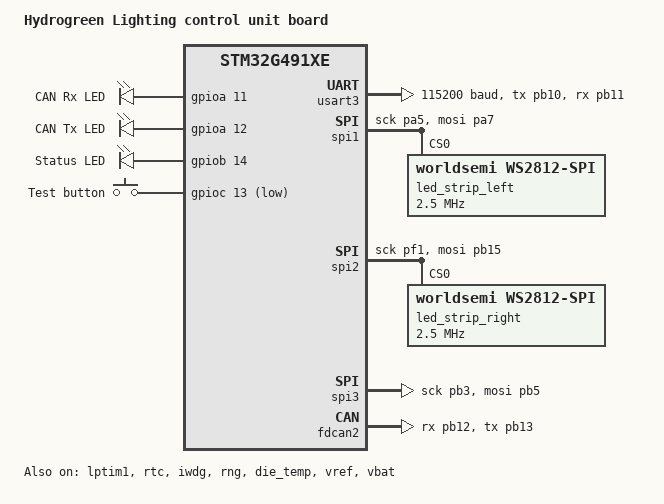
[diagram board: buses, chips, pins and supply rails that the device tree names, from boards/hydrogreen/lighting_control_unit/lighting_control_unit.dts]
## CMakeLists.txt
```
cmake_minimum_required(VERSION 3.13.1)

set(LCU_TYPE "front" CACHE STRING "Lighting control unit hardware position")
set_property(CACHE LCU_TYPE PROPERTY STRINGS front rear)

if(LCU_TYPE STREQUAL "front")
    set(LCU_TYPE_DEFINE LCU_FRONT_PCB)
elseif(LCU_TYPE STREQUAL "rear")
    set(LCU_TYPE_DEFINE LCU_REAR_PCB)
else()
    message(FATAL_ERROR "Unknown LCU_TYPE: ${LCU_TYPE}")
endif()

if(NOT DEFINED BOARD)
    set(BOARD lighting_control_unit CACHE STRING "Zephyr target board")
    message(STATUS "BOARD not defined externally, using default: ${BOARD}")
endif()

if(NOT DEFINED BOARD_ROOT)
    set(BOARD_ROOT ${CMAKE_CURRENT_SOURCE_DIR}/ CACHE PATH "Root directory for custom boards")
    message(STATUS "BOARD_ROOT not defined externally, using default: ${BOARD_ROOT}")
endif()

find_package(Zephyr REQUIRED HINTS $ENV{ZEPHYR_BASE})
project(app LANGUAGES C)

target_include_directories(app PRIVATE
        src
        ${CMAKE_SOURCE_DIR}/../modules/can-definitions
        ${CMAKE_SOURCE_DIR}/../modules/peripherals
        ${CMAKE_SOURCE_DIR}/../modules/peripherals/include
)

#target_link_libraries(app PRIVATE can-definitions peripherals)

if(CONFIG_BOOTLOADER_MCUBOOT)
    set(SIGNED_BIN  ${CMAKE_BINARY_DIR}/zephyr/zephyr.signed.bin)
    set(ELF_FILE    ${CMAKE_BINARY_DIR}/zephyr/zephyr.elf)
    set(HEADER_BIN  ${CMAKE_BINARY_DIR}/zephyr/mcuboot_header.bin)

    add_custom_target(patch_elf_mcuboot_header ALL
            COMMAND ${PYTHON_EXECUTABLE} -c
            "h=open('${SIGNED_BIN}','rb').read(${CONFIG_ROM_START_OFFSET}); open('${HEADER_BIN}','wb').write(h)"
            COMMAND ${PYTHON_EXECUTABLE}
            ${CMAKE_CURRENT_SOURCE_DIR}/tools/patch_elf_mcuboot_header.py
            ${ELF_FILE} ${HEADER_BIN} ${CONFIG_ROM_START_OFFSET}
            COMMENT "Patching MCUboot image header into zephyr.elf for GDB"
            VERBATIM
    )
    add_dependencies(patch_elf_mcuboot_header zephyr_final)
endif()

target_sources(app PRIVATE
        src/main.c
        src/lighting_control_unit.c
        src/lcu_dfu.c
        src/led_strip_ctrl.c
        ${CMAKE_SOURCE_DIR}/../modules/peripherals/can.c
        ${CMAKE_SOURCE_DIR}/../modules/peripherals/can_dfu.c
        ${CMAKE_SOURCE_DIR}/../modules/peripherals/gpio.c
        ${CMAKE_SOURCE_DIR}/../modules/peripherals/pwm.c
        ${CMAKE_SOURCE_DIR}/../modules/peripherals/status_led.c
        ${CMAKE_SOURCE_DIR}/../modules/peripherals/test_button.c
        ${CMAKE_SOURCE_DIR}/../modules/can-definitions/candef.c
)

target_compile_definitions(app PRIVATE ${LCU_TYPE_DEFINE})
```

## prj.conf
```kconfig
# Project specific config
CONFIG_GPIO=y
CONFIG_CAN=y
CONFIG_CAN_FD_MODE=n
CONFIG_CAN_MANUAL_RECOVERY_MODE=y
CONFIG_LED_STRIP=y
CONFIG_LED_STRIP_LOG_LEVEL_DBG=y

CONFIG_NANOPB=y

# prosze zadzialaj
CONFIG_SPI=y
CONFIG_SPI_STM32=y
CONFIG_PINCTRL=y

# System settings
CONFIG_HEAP_MEM_POOL_SIZE=2048
CONFIG_MAIN_STACK_SIZE=1024

# MCUboot + DFU over CAN
CONFIG_BOOTLOADER_MCUBOOT=y
CONFIG_MCUBOOT_IMG_MANAGER=y
CONFIG_MCUBOOT_GENERATE_UNSIGNED_IMAGE=y
CONFIG_FLASH=y
CONFIG_FLASH_MAP=y
CONFIG_FLASH_PAGE_LAYOUT=y
CONFIG_STREAM_FLASH=y
CONFIG_STREAM_FLASH_ERASE=n
CONFIG_STREAM_FLASH_INSPECT=n
CONFIG_IMG_MANAGER=y
CONFIG_REBOOT=y
CONFIG_CRC=y

# Debugging, tracing and logging settings
CONFIG_FPU=y
CONFIG_ARM_MPU=y
CONFIG_HW_STACK_PROTECTION=y

CONFIG_SERIAL=y
CONFIG_LOG=y
CONFIG_LOG_MODE_IMMEDIATE=y
CONFIG_LOG_DEFAULT_LEVEL=3

CONFIG_CONSOLE=y
CONFIG_LOG_BACKEND_RTT=y
CONFIG_LOG_BACKEND_RTT_MODE_DROP=y
CONFIG_USE_SEGGER_RTT=y
CONFIG_SEGGER_RTT_BUFFER_SIZE_UP=16384

CONFIG_TRACING=n
CONFIG_SEGGER_SYSTEMVIEW=n

CONFIG_DEBUG=y
CONFIG_DEBUG_OPTIMIZATIONS=y
CONFIG_THREAD_ANALYZER=y
CONFIG_THREAD_NAME=y
```

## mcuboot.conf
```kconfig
CONFIG_BOOT_SIGNATURE_TYPE_NONE=y
CONFIG_BOOT_UPGRADE_ONLY=y
CONFIG_BOOT_VALIDATE_SLOT0=n
CONFIG_BOOT_MAX_IMG_SECTORS_AUTO=n
CONFIG_BOOT_MAX_IMG_SECTORS=120

# Feed the watchdog during flash operations so the IWDG doesn't
# reset the MCU mid-upgrade (erasing 234KB takes several seconds).
CONFIG_BOOT_WATCHDOG_FEED=y
```

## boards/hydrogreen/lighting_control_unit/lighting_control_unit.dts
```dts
/dts-v1/;
#include <st/g4/stm32g491Xe.dtsi>
#include <st/g4/stm32g491c(c-e)tx-pinctrl.dtsi>

#include <zephyr/dt-bindings/led/led.h>

/ {
	model = "Hydrogreen Lighting control unit board";
	compatible = "hydrogreen,lighting-control-unit";

	aliases {
		can-rx-led = &can_rx_led;
		can-tx-led = &can_tx_led;
		status-led = &status_led;
		button-test = &button_test;
		led-strip-left = &led_strip_left;
		led-strip-right = &led_strip_right;
		can = &fdcan2;
		watchdog0 = &iwdg;
		die-temp0 = &die_temp;
		volt-sensor0 = &vref;
		volt-sensor1 = &vbat;
	};

	chosen {
		zephyr,console = &usart3;
		zephyr,shell-uart = &usart3;
		zephyr,sram = &sram0;
		zephyr,flash = &flash0;
		zephyr,canbus = &fdcan2;
		zephyr,code-partition = &slot0_partition;
	};

	leds {
		compatible = "gpio-leds";
		can_rx_led: led_pa11 {
			gpios = <&gpioa 11 GPIO_ACTIVE_HIGH>;
			label = "CAN Rx LED";
		};
		can_tx_led: led_pa12 {
			gpios = <&gpioa 12 GPIO_ACTIVE_HIGH>;
			label = "CAN Tx LED";
		};
		status_led: led_pb14 {
			gpios = <&gpiob 14 GPIO_ACTIVE_HIGH>;
			label = "Status LED";
		};
	};

	gpio_keys {
		compatible = "gpio-keys";
		button_test: button_pc13 {
			gpios = <&gpioc 13 (GPIO_ACTIVE_LOW | GPIO_PULL_UP)>;
			label = "Test button";
		};
	};


};

&gpioa {
	status = "okay";
};

&gpiob {
	status = "okay";
};

&gpioc {
	status = "okay";
};

&gpiof {
	status = "okay";
};


&clk_lsi {
	status = "okay";
};

&clk_hsi48 {
	status = "okay";
};

//&clk_hse {
//	clock-frequency = <DT_FREQ_M(24)>;
//	status = "okay";
//};

&clk_hsi {
	status = "okay";
};

&pll {
	div-m = <1>;
	mul-n = <10>;
	div-p = <2>;
	div-q = <2>;
	div-r = <2>;
	clocks = <&clk_hsi>;
	status = "okay";
};

&rcc {
	clocks = <&pll>;
	clock-frequency = <DT_FREQ_M(80)>;
	ahb-prescaler = <1>;
	apb1-prescaler = <1>;
	apb2-prescaler = <1>;
};

&usart3 {
	pinctrl-0 = <&usart3_tx_pb10 &usart3_rx_pb11>;
	pinctrl-names = "default";
	current-speed = <115200>;
	status = "okay";
};

//&lpuart1 {
//	pinctrl-0 = <&lpuart1_tx_pa2 &lpuart1_rx_pa3>;
//	pinctrl-1 = <&analog_pa2 &analog_pa3>;
//	pinctrl-names = "default", "sleep";
//	current-speed = <115200>;
//	status = "okay";
//};


&spi1 {
	pinctrl-0 = <&spi1_sck_pa5 &spi1_mosi_pa7>;
	pinctrl-names = "default";
	status = "okay";

	led_strip_left: ws2812@0 {
		compatible = "worldsemi,ws2812-spi";
		reg = <0>;
		/* Match lcu_ws28_spi: 80 MHz / 32 = 2.5 MHz, ControllersTech byte mapping */
		spi-max-frequency = <2500000>;
		chain-length = <50>;
		status = "okay";
		spi-one-frame = <0x06>;
		spi-zero-frame = <0x04>;
		color-mapping = <LED_COLOR_ID_GREEN
						 LED_COLOR_ID_RED
						 LED_COLOR_ID_BLUE>;
	};
};

&spi2 {
	pinctrl-0 = <&spi2_sck_pf1 &spi2_mosi_pb15>;
	pinctrl-names = "default";
	status = "okay";

	led_strip_right: ws2812@0 {
		compatible = "worldsemi,ws2812-spi";
		reg = <0>;
		/* Match lcu_ws28_spi: 80 MHz / 32 = 2.5 MHz, ControllersTech byte mapping */
		spi-max-frequency = <2500000>;
		chain-length = <50>;
		status = "okay";
		spi-one-frame = <0x06>;
		spi-zero-frame = <0x04>;
		color-mapping = <LED_COLOR_ID_GREEN
						 LED_COLOR_ID_RED
						 LED_COLOR_ID_BLUE>;
	};
};

&spi3 {
	pinctrl-0 = <&spi3_sck_pb3 &spi3_mosi_pb5>;
	pinctrl-names = "default";
	status = "okay";

	/*led_strip_spi3_pb5: ws2812@0 {
		compatible = "worldsemi,ws2812-spi";
		reg = <0>;
		 Placeholder SPI3 config on PB5 for bench wiring parity
		spi-max-frequency = <2500000>;
		chain-length = <95>;
		status = "okay";
		spi-one-frame = <0x06>;
		spi-zero-frame = <0x04>;
		color-mapping = <LED_COLOR_ID_GREEN
						 LED_COLOR_ID_RED
						 LED_COLOR_ID_BLUE>;
	};*/


};

//&timers2 {
//	status = "okay";
//
//	pwm2: pwm {
//		status = "okay";
//		pinctrl-0 = <&tim2_ch1_pa5>;
//		pinctrl-names = "default";
//	};
//};
//
//&timers3 {
//	st,prescaler = <10000>;
//	status = "okay";
//	pwm3: pwm {
//		status = "okay";
//		pinctrl-0 = <&tim3_ch1_pb4>;
//		pinctrl-names = "default";
//	};
//};

&lptim1 {
	clocks = <&rcc STM32_CLOCK_BUS_APB1 0x80000000>,
			 <&rcc STM32_SRC_LSI LPTIM1_SEL(1)>;
	status = "okay";
};

&rtc {
	clocks = <&rcc STM32_CLOCK_BUS_APB1 0x00000400>,
			 <&rcc STM32_SRC_LSI RTC_SEL(2)>;
	status = "okay";
};

&flash0 {
	partitions {
		compatible = "fixed-partitions";
		#address-cells = <1>;
		#size-cells = <1>;

		boot_partition: partition@0 {
			label = "mcuboot";
			reg = <0x00000000 DT_SIZE_K(34)>;
		};
		slot0_partition: partition@8800 {
			label = "image-0";
			reg = <0x00008800 DT_SIZE_K(240)>;
		};
		slot1_partition: partition@44800 {
			label = "image-1";
			reg = <0x00044800 DT_SIZE_K(234)>;
		};
		/* Set 4Kb of storage at the end of the 512Kb of flash */
		storage_partition: partition@7f000 {
			label = "storage";
			reg = <0x0007f000 DT_SIZE_K(4)>;
		};
	};
};

&iwdg {
	status = "okay";
};

&rng {
	status = "okay";
};


&die_temp {
	status = "okay";
};

//&fdcan1 {
//	clocks = <&rcc STM32_CLOCK_BUS_APB1 0x02000000>,
//			 <&rcc STM32_SRC_HSE FDCAN_SEL(0)>;
//	pinctrl-0 = <&fdcan1_rx_pa11 &fdcan1_tx_pa12>;
//	pinctrl-names = "default";
//	status = "okay";
//};

&fdcan2 {
	clocks = <&rcc STM32_CLOCK_BUS_APB1 0x02000000>,
			 <&rcc STM32_SRC_PLL_Q FDCAN_SEL(1)>;
	pinctrl-0 = <&fdcan2_rx_pb12 &fdcan2_tx_pb13>;
	pinctrl-names = "default";
	status = "okay";
};

&vref {
	status = "okay";
};

&vbat {
	status = "okay";
};
```

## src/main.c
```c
#include <errno.h>
#include <string.h>
#include <zephyr/logging/log.h>
#include <zephyr/kernel.h>
#include <zephyr/device.h>
#include <zephyr/drivers/spi.h>
#include <zephyr/sys/util.h>

#include "lighting_control_unit.h"

LOG_MODULE_REGISTER(main);
//
// static struct gpio_dt_spec status_led = GPIO_DT_SPEC_GET(DT_ALIAS(can_rx_led), gpios);
//
// bool bul = false;

// void blink_led() {
//     //ccu_rs485_init();
//     //ccu_can_init();
//
//     gpio_init(&status_led, GPIO_OUTPUT_INACTIVE);
//
//     while (true) {
//         gpio_pin_toggle_dt(&status_led);
//         k_msleep(500);
//         LOG_INF("%d", (int)bul);
//         bul = !bul;
//     }
// }
struct led_rgb lgbt;
int main(void) {
    lcu_init();
    lcu_on_tick();
    return 0;
}
```

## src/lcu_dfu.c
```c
#include "lcu_dfu.h"
#include "status_led.h"

#include <zephyr/device.h>
#include <zephyr/devicetree.h>

static void on_dfu_start(void) { status_led_set(STATUS_LED_DFU); }
static void on_dfu_end(void)   { status_led_set(STATUS_LED_OPERATIONAL); }

static const struct can_dfu_cfg lcu_dfu_cfg = {
    .cmd_id   = LCU_DFU_CMD_ID,
    .data_id  = LCU_DFU_DATA_ID,
    .rsp_id   = LCU_DFU_RSP_ID,
    .can_dev  = DEVICE_DT_GET(DT_ALIAS(can)),
    .on_start = on_dfu_start,
    .on_end   = on_dfu_end,
};

void lcu_dfu_init(void) { can_dfu_init(&lcu_dfu_cfg); }
```

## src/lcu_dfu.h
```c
#ifndef LCU_DFU_H
#define LCU_DFU_H

#include "can_dfu.h" /* generic peripheral — provides can_dfu_on_frame / can_dfu_is_active */

/* CAN IDs used by the LCU DFU protocol (extended frames) */
#define LCU_DFU_CMD_ID  0x7E4U  /* updater -> device: REQUEST or COMMIT */
#define LCU_DFU_DATA_ID 0x7E5U  /* updater -> device: firmware chunks   */
#define LCU_DFU_RSP_ID  0x7E6U  /* device  -> updater: status responses */

void lcu_dfu_init(void);

#endif /* LCU_DFU_H */
```

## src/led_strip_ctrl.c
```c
#include "led_strip_ctrl.h"

LOG_MODULE_REGISTER(led_strip_ctrl, LOG_LEVEL_INF);

int led_strip_init(const struct device *strip) {
    if (device_is_ready(strip)) {
        LOG_INF("Found LED strip device %s", strip->name);
        return 0;
    } else {
        LOG_ERR("LED strip device %s is not ready", strip->name);
        return -ENODEV;
    }
}

/* ── Buffer-only writes (no hardware update) ────────────────────────────── */

int led_strip_set_pixel(const struct device *strip, struct led_rgb *pixels,
                        size_t pixel_index, size_t num_pixels,
                        uint8_t r, uint8_t g, uint8_t b) {
    if (pixel_index >= num_pixels) {
        return -ERANGE;
    }
    pixels[pixel_index] = RGB(r, g, b);
    return 0;
}

int led_strip_set_all_pixels(const struct device *strip, struct led_rgb *pixels,
                              size_t num_pixels,
                              uint8_t r, uint8_t g, uint8_t b) {
    for (size_t i = 0; i < num_pixels; i++) {
        pixels[i] = RGB(r, g, b);
    }
    return 0;
}

int led_strip_set_range(const struct device *strip, struct led_rgb *pixels,
                        size_t range_start, size_t range_end, size_t num_pixels,
                        uint8_t r, uint8_t g, uint8_t b) {
    if (range_start >= num_pixels) {
        return -ERANGE;
    }
    if (range_end >= num_pixels) {
        range_end = num_pixels - 1;
    }
    if (range_start > range_end) {
        return 0;
    }
    for (size_t i = range_start; i <= range_end; i++) {
        pixels[i] = RGB(r, g, b);
    }
    return 0;
}

int led_strip_clear_all_pixels(const struct device *strip, struct led_rgb *pixels,
                                size_t num_pixels) {
    memset(pixels, 0x00, num_pixels * sizeof(struct led_rgb));
    return 0;
}

/* ── Hardware flush ─────────────────────────────────────────────────────── */

int led_strip_flush(const struct device *strip, struct led_rgb *pixels,
                    size_t num_pixels) {
    unsigned int key = irq_lock();
    int ret = led_strip_update_rgb(strip, pixels, num_pixels);
    irq_unlock(key);
    return ret;
}
```

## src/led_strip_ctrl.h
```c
//
// Created by inż.Dawid Pisarczyk on 09.02.2026.
//

#ifndef LED_STRIP_CTRL_H
#define LED_STRIP_CTRL_H

#include <stdint.h>
#include <zephyr/kernel.h>
#include <zephyr/device.h>
#include <zephyr/drivers/led_strip.h>
#include <zephyr/drivers/spi.h>
#include <zephyr/logging/log.h>
#include <stdio.h>

#define SAMPLE_LED_UPDATE_DELAY 10
#define LED_MAX_BRIGHTNESS 0xFF
#define RGB(_r, _g, _b) ((struct led_rgb){ .r = (_r), .g = (_g), .b = (_b) })

int led_strip_init(const struct device *strip);
int led_strip_set_pixel(const struct device *strip, struct led_rgb *pixels, size_t pixel_index, size_t num_pixels, uint8_t r, uint8_t g, uint8_t b);
int led_strip_set_range(const struct device *strip, struct led_rgb *pixels, size_t range_start, size_t range_end, size_t num_pixels, uint8_t r, uint8_t g, uint8_t b);
int led_strip_set_all_pixels(const struct device *strip, struct led_rgb *pixels, size_t num_pixels, uint8_t r, uint8_t g, uint8_t b);
int led_strip_clear_all_pixels(const struct device *strip, struct led_rgb *pixels, size_t num_pixels);
int led_strip_flush(const struct device *strip, struct led_rgb *pixels, size_t num_pixels);

#endif //LED_STRIP_CTRL_H
```

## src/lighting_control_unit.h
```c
//
// Created by inż. Dawid Pisarczyk on 28.12.2025.
//

#ifndef LIGHTING_CONTROL_UNIT_H
#define LIGHTING_CONTROL_UNIT_H

#include <stdint.h>
#include <zephyr/kernel.h>
#include <zephyr/device.h>
#include <zephyr/logging/log.h>
#include <zephyr/drivers/led_strip.h>
#include <zephyr/drivers/can.h>
#include "gpio.h"
#include "can.h"
#include "led_strip_ctrl.h"
#include "candef.h"

#define LEFT_STRIP_NODE   DT_ALIAS(led_strip_left)
#define RIGHT_STRIP_NODE  DT_ALIAS(led_strip_right)

/* Pull the length dynamically from your Devicetree to stay synchronized */
#define STRIP_NUM_PIXELS  DT_PROP(LEFT_STRIP_NODE, chain_length)

typedef struct lcu_can_t {
    const struct device *device;
    struct gpio_dt_spec tx_led;
    struct gpio_dt_spec rx_led;
} lcu_can_t;

typedef struct lcu_lights_t {
    const struct device *left_strip;   /* Removed const here for easy runtime struct assignment */
    const struct device *right_strip;  /* Removed const here */
    struct led_rgb pixels_left[STRIP_NUM_PIXELS];
    struct led_rgb pixels_right[STRIP_NUM_PIXELS];
    struct candef_mcu_lighting_t lighting;
    uint8_t num_pixels;
} lcu_lights_t;

void lcu_init(void);
void lcu_on_tick(void);

#endif //LIGHTING_CONTROL_UNIT_H
```
